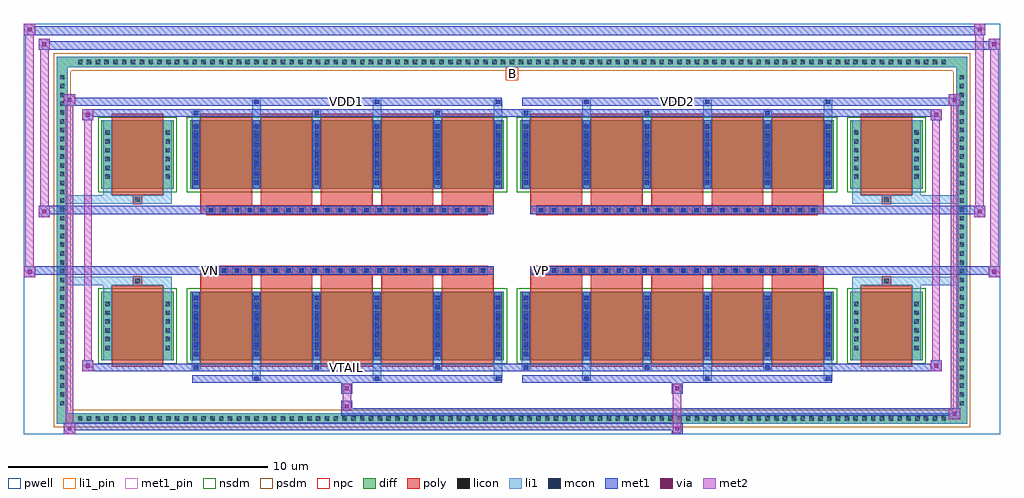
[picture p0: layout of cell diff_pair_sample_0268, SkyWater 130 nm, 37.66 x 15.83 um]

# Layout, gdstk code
import gdstk
lib = gdstk.Library(unit=1e-6, precision=5e-09)
def R(c, l, rs):  # rectangles x0, y0, x1, y1
    for r in rs: c.add(gdstk.rectangle(r[:2], r[2:], *l))
def A(c, l, x, y, w, h, nx, ny, dx, dy):  # array of equal rectangles
    R(c, l, [(x+i*dx, y+j*dy, x+i*dx+w, y+j*dy+h) for i in range(nx) for j in range(ny)])
def P(c, l, *ps):  # polygons
    for p in ps: c.add(gdstk.Polygon(p, *l))
pwell = (64, 44)
diff = (65, 20)
poly = (66, 20)
licon = (66, 44)
li1_pin = (67, 16)
li1 = (67, 20)
mcon = (67, 44)
met1_pin = (68, 16)
met1 = (68, 20)
via = (68, 44)
met2 = (69, 20)
nsdm = (93, 44)
psdm = (94, 20)
npc = (95, 20)

diff_pair_sample_0268 = lib.new_cell('diff_pair_sample_0268')
R(diff_pair_sample_0268, pwell, [(-18.83,-7.48,18.83,8.35), (-16.15,-5.67,-0.01,-0.795), (0.01,-5.67,16.15,-0.795), (-16.15,0.795,-0.01,5.67), (0.01,0.795,16.15,5.67)])
A(diff_pair_sample_0268, diff, -16.865, -7.08, 0.41, 0.41, 99, 2, 0.34, 13.75)
A(diff_pair_sample_0268, diff, -17.56, -6.495, 0.41, 0.41, 1, 38, 0, 0.34)
A(diff_pair_sample_0268, diff, 17.15, -6.495, 0.41, 0.41, 1, 38, 0, 0.34)
R(diff_pair_sample_0268, diff, [(-16.865,-7.08,16.865,-6.67), (-17.56,-6.495,-17.15,6.495), (17.15,-6.495,17.56,6.495), (-15.84,-4.625,-13.06,-1.985), (-12.42,-4.625,-0.32,-1.985), (0.32,-4.625,12.42,-1.985), (13.06,-4.625,15.84,-1.985), (-15.84,1.985,-13.06,4.625), (-12.42,1.985,-0.32,4.625), (0.32,1.985,12.42,4.625), (13.06,1.985,15.84,4.625), (-16.865,6.67,16.865,7.08)])
P(diff_pair_sample_0268, diff, [(17.56,7.08),(-17.56,7.08),(-17.56,-6.67),(-17.15,-6.67),(-17.15,6.67),(17.15,6.67),(17.15,-6.67),(-17.15,-6.67),(-17.56,-6.67),(-17.56,-7.08),(17.56,-7.08)])
A(diff_pair_sample_0268, poly, -12.03, -4.875, 2, 3.14, 5, 2, 2.33, 6.61)
A(diff_pair_sample_0268, poly, 0.71, -4.875, 2, 3.14, 5, 2, 2.33, 6.61)
A(diff_pair_sample_0268, poly, -12.03, -1.735, 2, 0.41, 5, 2, 2.33, 3.06)
A(diff_pair_sample_0268, poly, 0.71, -1.735, 2, 0.41, 5, 2, 2.33, 3.06)
A(diff_pair_sample_0268, poly, -11.785, -1.325, 0.33, 0.33, 22, 2, 0.5, 2.32)
A(diff_pair_sample_0268, poly, 0.955, -1.325, 0.33, 0.33, 22, 2, 0.5, 2.32)
R(diff_pair_sample_0268, poly, [(-15.45,-4.875,-13.45,-1.735), (13.45,-4.875,15.45,-1.735), (-14.615,-1.735,-14.285,-1.405), (-14.615,-1.735,-14.285,-1.405), (14.285,-1.735,14.615,-1.405), (14.285,-1.735,14.615,-1.405), (-12.03,-1.325,-0.71,-0.995), (0.71,-1.325,12.03,-0.995), (-12.03,0.995,-0.71,1.325), (0.71,0.995,12.03,1.325), (-14.615,1.405,-14.285,1.735), (-14.615,1.405,-14.285,1.735), (14.285,1.405,14.615,1.735), (14.285,1.405,14.615,1.735), (-15.45,1.735,-13.45,4.875), (13.45,1.735,15.45,4.875)])
A(diff_pair_sample_0268, licon, -16.745, -6.96, 0.17, 0.17, 99, 2, 0.34, 13.75)
A(diff_pair_sample_0268, licon, -17.44, -6.375, 0.17, 0.17, 1, 38, 0, 0.34)
A(diff_pair_sample_0268, licon, 17.27, -6.375, 0.17, 0.17, 1, 38, 0, 0.34)
A(diff_pair_sample_0268, licon, -15.7, -4.24, 0.17, 0.17, 1, 6, 0, 0.34)
A(diff_pair_sample_0268, licon, -13.37, -4.24, 0.17, 0.17, 1, 6, 0, 0.34)
A(diff_pair_sample_0268, licon, -12.28, -4.24, 0.17, 0.17, 6, 6, 2.33, 0.34)
A(diff_pair_sample_0268, licon, 0.46, -4.24, 0.17, 0.17, 6, 6, 2.33, 0.34)
A(diff_pair_sample_0268, licon, 13.2, -4.24, 0.17, 0.17, 1, 6, 0, 0.34)
A(diff_pair_sample_0268, licon, 15.53, -4.24, 0.17, 0.17, 1, 6, 0, 0.34)
A(diff_pair_sample_0268, licon, -11.705, -1.245, 0.17, 0.17, 22, 2, 0.5, 2.32)
A(diff_pair_sample_0268, licon, 1.035, -1.245, 0.17, 0.17, 22, 2, 0.5, 2.32)
A(diff_pair_sample_0268, licon, -15.7, 2.37, 0.17, 0.17, 1, 6, 0, 0.34)
A(diff_pair_sample_0268, licon, -13.37, 2.37, 0.17, 0.17, 1, 6, 0, 0.34)
A(diff_pair_sample_0268, licon, -12.28, 2.37, 0.17, 0.17, 6, 6, 2.33, 0.34)
A(diff_pair_sample_0268, licon, 0.46, 2.37, 0.17, 0.17, 6, 6, 2.33, 0.34)
A(diff_pair_sample_0268, licon, 13.2, 2.37, 0.17, 0.17, 1, 6, 0, 0.34)
A(diff_pair_sample_0268, licon, 15.53, 2.37, 0.17, 0.17, 1, 6, 0, 0.34)
R(diff_pair_sample_0268, licon, [(-14.535,-1.655,-14.365,-1.485), (14.365,-1.655,14.535,-1.485), (-14.535,1.485,-14.365,1.655), (14.365,1.485,14.535,1.655)])
R(diff_pair_sample_0268, li1_pin, [(-0.25,6.17,0.25,6.67)])
A(diff_pair_sample_0268, li1, -16.825, -7.04, 0.33, 0.33, 99, 2, 0.34, 13.75)
A(diff_pair_sample_0268, li1, -17.52, -6.455, 0.33, 0.33, 1, 38, 0, 0.34)
A(diff_pair_sample_0268, li1, 17.19, -6.455, 0.33, 0.33, 1, 38, 0, 0.34)
A(diff_pair_sample_0268, li1, -10.03, -5.43, 0.33, 0.805, 3, 2, 4.66, 10.055)
A(diff_pair_sample_0268, li1, -9.95, -5.43, 0.17, 0.17, 3, 2, 4.66, 10.69)
A(diff_pair_sample_0268, li1, 2.71, -5.43, 0.33, 0.805, 3, 2, 4.66, 10.055)
A(diff_pair_sample_0268, li1, 2.79, -5.43, 0.17, 0.17, 3, 2, 4.66, 10.69)
A(diff_pair_sample_0268, li1, -12.36, -5, 0.33, 0.375, 3, 2, 4.66, 9.625)
A(diff_pair_sample_0268, li1, -12.28, -5, 0.17, 0.17, 3, 2, 4.66, 9.83)
A(diff_pair_sample_0268, li1, 0.38, -5, 0.33, 0.375, 3, 2, 4.66, 9.625)
A(diff_pair_sample_0268, li1, 0.46, -5, 0.17, 0.17, 3, 2, 4.66, 9.83)
A(diff_pair_sample_0268, li1, -12.36, -4.625, 0.33, 2.64, 6, 2, 2.33, 6.61)
A(diff_pair_sample_0268, li1, 0.38, -4.625, 0.33, 2.64, 6, 2, 2.33, 6.61)
A(diff_pair_sample_0268, li1, -12.28, -4.47, 0.17, 0.17, 6, 7, 2.33, 0.36)
A(diff_pair_sample_0268, li1, -12.28, -4.47, 0.17, 2.33, 6, 2, 2.33, 6.61)
A(diff_pair_sample_0268, li1, 0.46, -4.47, 0.17, 0.17, 6, 7, 2.33, 0.36)
A(diff_pair_sample_0268, li1, 0.46, -4.47, 0.17, 2.33, 6, 2, 2.33, 6.61)
A(diff_pair_sample_0268, li1, -15.78, -4.32, 0.33, 0.33, 1, 6, 0, 0.34)
A(diff_pair_sample_0268, li1, -13.45, -4.32, 0.33, 0.33, 1, 6, 0, 0.34)
A(diff_pair_sample_0268, li1, -12.36, -4.32, 0.33, 0.33, 6, 6, 2.33, 0.34)
A(diff_pair_sample_0268, li1, 0.38, -4.32, 0.33, 0.33, 6, 6, 2.33, 0.34)
A(diff_pair_sample_0268, li1, 13.12, -4.32, 0.33, 0.33, 1, 6, 0, 0.34)
A(diff_pair_sample_0268, li1, 15.45, -4.32, 0.33, 0.33, 1, 6, 0, 0.34)
A(diff_pair_sample_0268, li1, -11.785, -1.325, 0.33, 0.33, 22, 2, 0.5, 2.32)
A(diff_pair_sample_0268, li1, 0.955, -1.325, 0.33, 0.33, 22, 2, 0.5, 2.32)
A(diff_pair_sample_0268, li1, -12.28, 2.14, 0.17, 0.17, 6, 7, 2.33, 0.36)
A(diff_pair_sample_0268, li1, 0.46, 2.14, 0.17, 0.17, 6, 7, 2.33, 0.36)
A(diff_pair_sample_0268, li1, -15.78, 2.29, 0.33, 0.33, 1, 6, 0, 0.34)
A(diff_pair_sample_0268, li1, -13.45, 2.29, 0.33, 0.33, 1, 6, 0, 0.34)
A(diff_pair_sample_0268, li1, -12.36, 2.29, 0.33, 0.33, 6, 6, 2.33, 0.34)
A(diff_pair_sample_0268, li1, 0.38, 2.29, 0.33, 0.33, 6, 6, 2.33, 0.34)
A(diff_pair_sample_0268, li1, 13.12, 2.29, 0.33, 0.33, 1, 6, 0, 0.34)
A(diff_pair_sample_0268, li1, 15.45, 2.29, 0.33, 0.33, 1, 6, 0, 0.34)
R(diff_pair_sample_0268, li1, [(-17.56,-7.08,-17.15,-6.67), (-17.56,-7.08,-17.15,-6.67), (-17.15,-7.08,17.15,-6.67), (17.15,-7.08,17.56,-6.67), (17.15,-7.08,17.56,-6.67), (-17.56,-6.67,-17.15,6.67), (17.15,-6.67,17.56,6.67), (-15.78,-4.625,-15.45,-1.985), (-13.45,-4.625,-13.12,-1.985), (13.12,-4.625,13.45,-1.985), (15.45,-4.625,15.78,-1.985), (-15.78,-1.985,-15.45,-1.405), (-13.45,-1.985,-13.12,-1.405), (13.12,-1.985,13.45,-1.405), (15.45,-1.985,15.78,-1.405), (-17.56,-1.735,-14.615,-1.405), (-15.78,-1.735,-14.615,-1.405), (-14.615,-1.735,-14.285,-1.405), (-14.285,-1.735,-13.12,-1.405), (13.12,-1.735,14.285,-1.405), (14.285,-1.735,14.615,-1.405), (14.285,-1.735,17.56,-1.405), (14.615,-1.735,15.78,-1.405), (-17.56,1.405,-14.615,1.735), (-15.78,1.405,-14.615,1.735), (-15.78,1.405,-15.45,1.985), (-14.615,1.405,-14.285,1.735), (-14.285,1.405,-13.12,1.735), (-13.45,1.405,-13.12,1.985), (13.12,1.405,14.285,1.735), (13.12,1.405,13.45,1.985), (14.285,1.405,14.615,1.735), (14.285,1.405,17.56,1.735), (14.615,1.405,15.78,1.735), (15.45,1.405,15.78,1.985), (-15.78,1.985,-15.45,4.625), (-13.45,1.985,-13.12,4.625), (13.12,1.985,13.45,4.625), (15.45,1.985,15.78,4.625), (-17.56,6.67,-17.15,7.08), (-17.56,6.67,-17.15,7.08), (-17.15,6.67,17.15,7.08), (17.15,6.67,17.56,7.08), (17.15,6.67,17.56,7.08)])
A(diff_pair_sample_0268, mcon, -9.95, -5.43, 0.17, 0.17, 3, 2, 4.66, 10.69)
A(diff_pair_sample_0268, mcon, 2.79, -5.43, 0.17, 0.17, 3, 2, 4.66, 10.69)
A(diff_pair_sample_0268, mcon, -12.28, -5, 0.17, 0.17, 3, 2, 4.66, 9.83)
A(diff_pair_sample_0268, mcon, 0.46, -5, 0.17, 0.17, 3, 2, 4.66, 9.83)
A(diff_pair_sample_0268, mcon, -12.28, -4.47, 0.17, 0.17, 6, 7, 2.33, 0.36)
A(diff_pair_sample_0268, mcon, 0.46, -4.47, 0.17, 0.17, 6, 7, 2.33, 0.36)
A(diff_pair_sample_0268, mcon, -11.705, -1.245, 0.17, 0.17, 22, 2, 0.5, 2.32)
A(diff_pair_sample_0268, mcon, 1.035, -1.245, 0.17, 0.17, 22, 2, 0.5, 2.32)
A(diff_pair_sample_0268, mcon, -12.28, 2.14, 0.17, 0.17, 6, 7, 2.33, 0.36)
A(diff_pair_sample_0268, mcon, 0.46, 2.14, 0.17, 0.17, 6, 7, 2.33, 0.36)
R(diff_pair_sample_0268, met1_pin, [(-6.505,-5.04,-6.235,-4.77), (-11.755,-1.285,-11.485,-1.015), (0.985,-1.285,1.255,-1.015), (-6.505,5.22,-6.235,5.49), (6.235,5.22,6.505,5.49)])
A(diff_pair_sample_0268, met1, -10.01, -5.49, 0.29, 0.29, 3, 2, 4.66, 10.69)
A(diff_pair_sample_0268, met1, 2.73, -5.49, 0.29, 0.29, 3, 2, 4.66, 10.69)
A(diff_pair_sample_0268, met1, -12.34, -5.06, 0.29, 0.29, 3, 2, 4.66, 9.83)
A(diff_pair_sample_0268, met1, 0.4, -5.06, 0.29, 0.29, 3, 2, 4.66, 9.83)
A(diff_pair_sample_0268, met1, -12.34, -4.625, 0.29, 2.64, 6, 2, 2.33, 6.61)
A(diff_pair_sample_0268, met1, 0.4, -4.625, 0.29, 2.64, 6, 2, 2.33, 6.61)
A(diff_pair_sample_0268, met1, -12.34, -4.53, 0.29, 0.29, 6, 7, 2.33, 0.36)
A(diff_pair_sample_0268, met1, 0.4, -4.53, 0.29, 0.29, 6, 7, 2.33, 0.36)
A(diff_pair_sample_0268, met1, -11.765, -1.305, 0.29, 0.29, 22, 2, 0.5, 2.32)
A(diff_pair_sample_0268, met1, 0.975, -1.305, 0.29, 0.29, 22, 2, 0.5, 2.32)
A(diff_pair_sample_0268, met1, -12.34, 2.08, 0.29, 0.29, 6, 7, 2.33, 0.36)
A(diff_pair_sample_0268, met1, 0.4, 2.08, 0.29, 0.29, 6, 7, 2.33, 0.36)
R(diff_pair_sample_0268, met1, [(-17.29,-7.48,-16.86,-7.05), (6.155,-7.48,6.585,-7.05), (-17.29,-7.34,6.585,-7.05), (16.86,-6.91,17.29,-6.48), (-6.585,-6.77,17.29,-6.48), (-6.585,-6.63,-6.155,-6.2), (-6.585,-5.92,-6.155,-5.49), (6.155,-5.92,6.585,-5.49), (-12.34,-5.49,-0.4,-5.2), (0.4,-5.49,12.34,-5.2), (-16.58,-5.06,-16.15,-4.63), (-16.58,-5.06,-12.34,-4.77), (-12.34,-5.06,-0.4,-4.77), (-0.4,-5.06,0.4,-4.77), (0.4,-5.06,12.34,-4.77), (12.34,-5.06,16.58,-4.77), (16.15,-5.06,16.58,-4.63), (-18.83,-1.425,-18.4,-0.995), (18.4,-1.425,18.83,-0.995), (-18.83,-1.325,-0.71,-0.995), (-12.03,-1.325,-0.71,-0.995), (0.71,-1.325,12.03,-0.995), (0.71,-1.325,18.83,-0.995), (-18.26,0.895,-17.83,1.325), (17.83,0.895,18.26,1.325), (-18.26,0.995,-12.03,1.325), (-12.03,0.995,-0.71,1.325), (0.71,0.995,12.03,1.325), (12.03,0.995,18.26,1.325), (-16.58,4.63,-16.15,5.06), (16.15,4.63,16.58,5.06), (-16.58,4.77,-12.34,5.06), (-12.34,4.77,-0.4,5.06), (-0.4,4.77,0.4,5.06), (0.4,4.77,12.34,5.06), (12.34,4.77,16.58,5.06), (-17.29,5.2,-16.86,5.63), (-17.29,5.2,-12.34,5.49), (-12.34,5.2,-0.4,5.49), (0.4,5.2,12.34,5.49), (12.34,5.2,17.29,5.49), (16.86,5.2,17.29,5.63), (-18.26,7.35,-17.83,7.78), (-18.26,7.35,-16.15,7.68), (-16.15,7.35,16.15,7.68), (16.15,7.35,18.83,7.68), (18.4,7.35,18.83,7.78), (-18.83,7.92,-18.4,8.35), (-18.83,7.92,-16.15,8.25), (-16.15,7.92,16.15,8.25), (16.15,7.92,18.26,8.25), (17.83,7.92,18.26,8.35)])
R(diff_pair_sample_0268, via, [(-17.15,-7.34,-17,-7.19), (6.295,-7.34,6.445,-7.19), (17,-6.77,17.15,-6.62), (-6.445,-6.49,-6.295,-6.34), (-6.445,-5.78,-6.295,-5.63), (6.295,-5.78,6.445,-5.63), (-16.44,-4.92,-16.29,-4.77), (16.29,-4.92,16.44,-4.77), (-18.69,-1.285,-18.54,-1.135), (18.54,-1.285,18.69,-1.135), (-18.12,1.035,-17.97,1.185), (17.97,1.035,18.12,1.185), (-16.44,4.77,-16.29,4.92), (16.29,4.77,16.44,4.92), (-17.15,5.34,-17,5.49), (17,5.34,17.15,5.49), (-18.12,7.49,-17.97,7.64), (18.54,7.49,18.69,7.64), (-18.69,8.06,-18.54,8.21), (17.97,8.06,18.12,8.21)])
R(diff_pair_sample_0268, met2, [(-17.29,-7.48,-16.86,-7.05), (-17.22,-7.48,-16.93,5.63), (-16.93,-7.48,-16.86,-7.05), (-17.24,-7.43,-16.91,-7.1), (6.205,-7.43,6.535,-7.1), (6.205,-7.1,6.535,-5.87), (16.86,-6.91,17.29,-6.48), (16.93,-6.91,17.22,5.63), (17.22,-6.91,17.29,-6.48), (16.91,-6.86,17.24,-6.53), (-6.535,-6.58,-6.205,-6.25), (-6.535,-6.25,-6.205,-5.87), (-6.535,-5.87,-6.205,-5.54), (6.205,-5.87,6.535,-5.54), (-16.58,-5.06,-16.15,-4.63), (-16.51,-5.06,-16.22,5.06), (-16.22,-5.06,-16.15,-4.63), (16.15,-5.06,16.58,-4.63), (16.22,-5.06,16.51,5.06), (16.51,-5.06,16.58,-4.63), (-16.53,-5.01,-16.2,-4.68), (16.2,-5.01,16.53,-4.68), (-18.83,-1.425,-18.4,-0.995), (-18.78,-1.425,-18.45,8.35), (-18.45,-1.425,-18.4,-0.995), (18.4,-1.425,18.83,-0.995), (18.45,-1.425,18.78,7.78), (18.78,-1.425,18.83,-0.995), (-18.78,-1.375,-18.45,-1.045), (18.45,-1.375,18.78,-1.045), (-18.26,0.895,-17.83,1.325), (-18.21,0.895,-17.88,7.78), (-17.88,0.895,-17.83,1.325), (17.83,0.895,18.26,1.325), (17.88,0.895,18.21,8.35), (18.21,0.895,18.26,1.325), (-18.21,0.945,-17.88,1.275), (17.88,0.945,18.21,1.275), (-16.58,4.63,-16.15,5.06), (-16.22,4.63,-16.15,5.06), (16.15,4.63,16.58,5.06), (16.51,4.63,16.58,5.06), (-16.53,4.68,-16.2,5.01), (16.2,4.68,16.53,5.01), (-17.29,5.2,-16.86,5.63), (-16.93,5.2,-16.86,5.63), (16.86,5.2,17.29,5.63), (17.22,5.2,17.29,5.63), (-17.24,5.25,-16.91,5.58), (16.91,5.25,17.24,5.58), (-18.26,7.35,-17.83,7.78), (-17.88,7.35,-17.83,7.78), (18.4,7.35,18.83,7.78), (18.78,7.35,18.83,7.78), (-18.21,7.4,-17.88,7.73), (18.45,7.4,18.78,7.73), (-18.83,7.92,-18.4,8.35), (-18.45,7.92,-18.4,8.35), (17.83,7.92,18.26,8.35), (18.21,7.92,18.26,8.35), (-18.78,7.97,-18.45,8.3), (17.88,7.97,18.21,8.3)])
R(diff_pair_sample_0268, nsdm, [(-15.97,-4.755,-12.93,-1.855), (-12.55,-4.755,-0.19,-1.855), (0.19,-4.755,12.55,-1.855), (12.93,-4.755,15.97,-1.855), (-15.97,1.855,-12.93,4.755), (-12.55,1.855,-0.19,4.755), (0.19,1.855,12.55,4.755), (12.93,1.855,15.97,4.755)])
P(diff_pair_sample_0268, psdm, [(17.69,7.21),(-17.69,7.21),(-17.69,-6.54),(-17.02,-6.54),(-17.02,6.54),(17.02,6.54),(17.02,-6.54),(-17.02,-6.54),(-17.69,-6.54),(-17.69,-7.21),(17.69,-7.21)])
A(diff_pair_sample_0268, npc, -11.805, -1.345, 0.37, 0.37, 22, 2, 0.5, 2.32)
A(diff_pair_sample_0268, npc, 0.935, -1.345, 0.37, 0.37, 22, 2, 0.5, 2.32)
R(diff_pair_sample_0268, npc, [(-14.635,-1.755,-14.265,-1.385), (14.265,-1.755,14.635,-1.385), (-11.805,-1.345,-10.935,-0.975), (-11.805,-1.345,-10.935,-0.975), (-11.305,-1.345,-10.435,-0.975), (-11.305,-1.345,-10.435,-0.975), (-10.805,-1.345,-9.935,-0.975), (-10.805,-1.345,-9.935,-0.975), (-10.305,-1.345,-9.435,-0.975), (-10.305,-1.345,-9.435,-0.975), (-9.805,-1.345,-8.935,-0.975), (-9.805,-1.345,-8.935,-0.975), (-9.305,-1.345,-8.435,-0.975), (-9.305,-1.345,-8.435,-0.975), (-8.805,-1.345,-7.935,-0.975), (-8.805,-1.345,-7.935,-0.975), (-8.305,-1.345,-7.435,-0.975), (-8.305,-1.345,-7.435,-0.975), (-7.805,-1.345,-6.935,-0.975), (-7.805,-1.345,-6.935,-0.975), (-7.305,-1.345,-6.435,-0.975), (-7.305,-1.345,-6.435,-0.975), (-6.805,-1.345,-5.935,-0.975), (-6.805,-1.345,-5.935,-0.975), (-6.305,-1.345,-5.435,-0.975), (-6.305,-1.345,-5.435,-0.975), (-5.805,-1.345,-4.935,-0.975), (-5.805,-1.345,-4.935,-0.975), (-5.305,-1.345,-4.435,-0.975), (-5.305,-1.345,-4.435,-0.975), (-4.805,-1.345,-3.935,-0.975), (-4.805,-1.345,-3.935,-0.975), (-4.305,-1.345,-3.435,-0.975), (-4.305,-1.345,-3.435,-0.975), (-3.805,-1.345,-2.935,-0.975), (-3.805,-1.345,-2.935,-0.975), (-3.305,-1.345,-2.435,-0.975), (-3.305,-1.345,-2.435,-0.975), (-2.805,-1.345,-1.935,-0.975), (-2.805,-1.345,-1.935,-0.975), (-2.305,-1.345,-1.435,-0.975), (-2.305,-1.345,-1.435,-0.975), (-1.805,-1.345,-0.935,-0.975), (-1.805,-1.345,-0.935,-0.975), (0.935,-1.345,1.805,-0.975), (0.935,-1.345,1.805,-0.975), (1.435,-1.345,2.305,-0.975), (1.435,-1.345,2.305,-0.975), (1.935,-1.345,2.805,-0.975), (1.935,-1.345,2.805,-0.975), (2.435,-1.345,3.305,-0.975), (2.435,-1.345,3.305,-0.975), (2.935,-1.345,3.805,-0.975), (2.935,-1.345,3.805,-0.975), (3.435,-1.345,4.305,-0.975), (3.435,-1.345,4.305,-0.975), (3.935,-1.345,4.805,-0.975), (3.935,-1.345,4.805,-0.975), (4.435,-1.345,5.305,-0.975), (4.435,-1.345,5.305,-0.975), (4.935,-1.345,5.805,-0.975), (4.935,-1.345,5.805,-0.975), (5.435,-1.345,6.305,-0.975), (5.435,-1.345,6.305,-0.975), (5.935,-1.345,6.805,-0.975), (5.935,-1.345,6.805,-0.975), (6.435,-1.345,7.305,-0.975), (6.435,-1.345,7.305,-0.975), (6.935,-1.345,7.805,-0.975), (6.935,-1.345,7.805,-0.975), (7.435,-1.345,8.305,-0.975), (7.435,-1.345,8.305,-0.975), (7.935,-1.345,8.805,-0.975), (7.935,-1.345,8.805,-0.975), (8.435,-1.345,9.305,-0.975), (8.435,-1.345,9.305,-0.975), (8.935,-1.345,9.805,-0.975), (8.935,-1.345,9.805,-0.975), (9.435,-1.345,10.305,-0.975), (9.435,-1.345,10.305,-0.975), (9.935,-1.345,10.805,-0.975), (9.935,-1.345,10.805,-0.975), (10.435,-1.345,11.305,-0.975), (10.435,-1.345,11.305,-0.975), (10.935,-1.345,11.805,-0.975), (10.935,-1.345,11.805,-0.975), (-11.805,0.975,-10.935,1.345), (-11.805,0.975,-10.935,1.345), (-11.305,0.975,-10.435,1.345), (-11.305,0.975,-10.435,1.345), (-10.805,0.975,-9.935,1.345), (-10.805,0.975,-9.935,1.345), (-10.305,0.975,-9.435,1.345), (-10.305,0.975,-9.435,1.345), (-9.805,0.975,-8.935,1.345), (-9.805,0.975,-8.935,1.345), (-9.305,0.975,-8.435,1.345), (-9.305,0.975,-8.435,1.345), (-8.805,0.975,-7.935,1.345), (-8.805,0.975,-7.935,1.345), (-8.305,0.975,-7.435,1.345), (-8.305,0.975,-7.435,1.345), (-7.805,0.975,-6.935,1.345), (-7.805,0.975,-6.935,1.345), (-7.305,0.975,-6.435,1.345), (-7.305,0.975,-6.435,1.345), (-6.805,0.975,-5.935,1.345), (-6.805,0.975,-5.935,1.345), (-6.305,0.975,-5.435,1.345), (-6.305,0.975,-5.435,1.345), (-5.805,0.975,-4.935,1.345), (-5.805,0.975,-4.935,1.345), (-5.305,0.975,-4.435,1.345), (-5.305,0.975,-4.435,1.345), (-4.805,0.975,-3.935,1.345), (-4.805,0.975,-3.935,1.345), (-4.305,0.975,-3.435,1.345), (-4.305,0.975,-3.435,1.345), (-3.805,0.975,-2.935,1.345), (-3.805,0.975,-2.935,1.345), (-3.305,0.975,-2.435,1.345), (-3.305,0.975,-2.435,1.345), (-2.805,0.975,-1.935,1.345), (-2.805,0.975,-1.935,1.345), (-2.305,0.975,-1.435,1.345), (-2.305,0.975,-1.435,1.345), (-1.805,0.975,-0.935,1.345), (-1.805,0.975,-0.935,1.345), (0.935,0.975,1.805,1.345), (0.935,0.975,1.805,1.345), (1.435,0.975,2.305,1.345), (1.435,0.975,2.305,1.345), (1.935,0.975,2.805,1.345), (1.935,0.975,2.805,1.345), (2.435,0.975,3.305,1.345), (2.435,0.975,3.305,1.345), (2.935,0.975,3.805,1.345), (2.935,0.975,3.805,1.345), (3.435,0.975,4.305,1.345), (3.435,0.975,4.305,1.345), (3.935,0.975,4.805,1.345), (3.935,0.975,4.805,1.345), (4.435,0.975,5.305,1.345), (4.435,0.975,5.305,1.345), (4.935,0.975,5.805,1.345), (4.935,0.975,5.805,1.345), (5.435,0.975,6.305,1.345), (5.435,0.975,6.305,1.345), (5.935,0.975,6.805,1.345), (5.935,0.975,6.805,1.345), (6.435,0.975,7.305,1.345), (6.435,0.975,7.305,1.345), (6.935,0.975,7.805,1.345), (6.935,0.975,7.805,1.345), (7.435,0.975,8.305,1.345), (7.435,0.975,8.305,1.345), (7.935,0.975,8.805,1.345), (7.935,0.975,8.805,1.345), (8.435,0.975,9.305,1.345), (8.435,0.975,9.305,1.345), (8.935,0.975,9.805,1.345), (8.935,0.975,9.805,1.345), (9.435,0.975,10.305,1.345), (9.435,0.975,10.305,1.345), (9.935,0.975,10.805,1.345), (9.935,0.975,10.805,1.345), (10.435,0.975,11.305,1.345), (10.435,0.975,11.305,1.345), (10.935,0.975,11.805,1.345), (10.935,0.975,11.805,1.345), (-14.635,1.385,-14.265,1.755), (14.265,1.385,14.635,1.755)])
diff_pair_sample_0268.add(gdstk.Label('VTAIL', (-6.37,-4.905), layer=68, texttype=5))
diff_pair_sample_0268.add(gdstk.Label('VN', (-11.62,-1.15), layer=68, texttype=5))
diff_pair_sample_0268.add(gdstk.Label('VP', (1.12,-1.15), layer=68, texttype=5))
diff_pair_sample_0268.add(gdstk.Label('B', (0,6.42), layer=67, texttype=5))
diff_pair_sample_0268.add(gdstk.Label('VDD2', (6.37,5.355), layer=68, texttype=5))
diff_pair_sample_0268.add(gdstk.Label('VDD1', (-6.37,5.355), layer=68, texttype=5))

lib.write_gds('diff_pair_sample_0268.gds')
